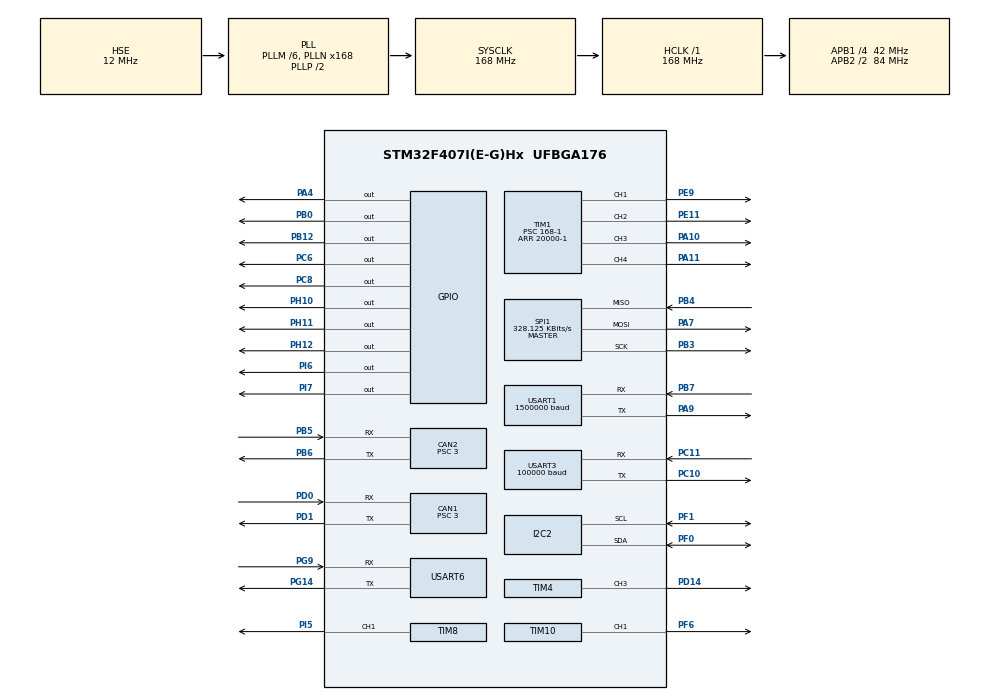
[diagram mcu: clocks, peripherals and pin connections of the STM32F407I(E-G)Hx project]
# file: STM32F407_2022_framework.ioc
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ARM.CMSIS.5.8.0.CMSISJjDSP=Source
CAN1.BS1=CAN_BS1_10TQ
CAN1.BS2=CAN_BS2_3TQ
CAN1.CalculateBaudRate=1000000
CAN1.CalculateTimeBit=1000
CAN1.CalculateTimeQuantum=71.42857142857143
CAN1.NART=DISABLE
CAN1.Prescaler=3
CAN1.SJW=CAN_SJW_1TQ
CAN1.TXFP=ENABLE
CAN2.BS1=CAN_BS1_10TQ
CAN2.BS2=CAN_BS2_3TQ
CAN2.CalculateBaudRate=1000000
CAN2.CalculateTimeBit=1000
CAN2.CalculateTimeQuantum=71.42857142857143
CAN2.NART=ENABLE
CAN2.Prescaler=3
CAN2.TXFP=ENABLE
Dma.Request0=USART1_TX
Dma.Request1=USART3_RX
Dma.Request2=USART6_RX
Dma.Request3=USART6_TX
Dma.Request4=USART1_RX
Dma.USART1_RX.4.Direction=DMA_PERIPH_TO_MEMORY
Dma.USART1_RX.4.FIFOMode=DMA_FIFOMODE_DISABLE
Dma.USART1_RX.4.Instance=DMA2_Stream2
Dma.USART1_RX.4.MemDataAlignment=DMA_MDATAALIGN_BYTE
Dma.USART1_RX.4.MemInc=DMA_MINC_ENABLE
Dma.USART1_RX.4.Mode=DMA_NORMAL
Dma.USART1_RX.4.PeriphDataAlignment=DMA_PDATAALIGN_BYTE
Dma.USART1_RX.4.PeriphInc=DMA_PINC_DISABLE
Dma.USART1_RX.4.Priority=DMA_PRIORITY_HIGH
Dma.USART1_TX.0.Direction=DMA_MEMORY_TO_PERIPH
Dma.USART1_TX.0.FIFOMode=DMA_FIFOMODE_DISABLE
Dma.USART1_TX.0.Instance=DMA2_Stream7
Dma.USART1_TX.0.MemDataAlignment=DMA_MDATAALIGN_BYTE
Dma.USART1_TX.0.MemInc=DMA_MINC_ENABLE
Dma.USART1_TX.0.Mode=DMA_NORMAL
Dma.USART1_TX.0.PeriphDataAlignment=DMA_PDATAALIGN_BYTE
Dma.USART1_TX.0.PeriphInc=DMA_PINC_DISABLE
Dma.USART1_TX.0.Priority=DMA_PRIORITY_HIGH
Dma.USART3_RX.1.Direction=DMA_PERIPH_TO_MEMORY
Dma.USART3_RX.1.FIFOMode=DMA_FIFOMODE_DISABLE
Dma.USART3_RX.1.Instance=DMA1_Stream1
Dma.USART3_RX.1.MemDataAlignment=DMA_MDATAALIGN_BYTE
Dma.USART3_RX.1.MemInc=DMA_MINC_ENABLE
Dma.USART3_RX.1.Mode=DMA_NORMAL
Dma.USART3_RX.1.PeriphDataAlignment=DMA_PDATAALIGN_BYTE
Dma.USART3_RX.1.PeriphInc=DMA_PINC_DISABLE
Dma.USART3_RX.1.Priority=DMA_PRIORITY_VERY_HIGH
Dma.USART6_RX.2.Direction=DMA_PERIPH_TO_MEMORY
Dma.USART6_RX.2.FIFOMode=DMA_FIFOMODE_DISABLE
Dma.USART6_RX.2.Instance=DMA2_Stream1
Dma.USART6_RX.2.MemDataAlignment=DMA_MDATAALIGN_BYTE
Dma.USART6_RX.2.MemInc=DMA_MINC_ENABLE
Dma.USART6_RX.2.Mode=DMA_CIRCULAR
Dma.USART6_RX.2.PeriphDataAlignment=DMA_PDATAALIGN_BYTE
Dma.USART6_RX.2.PeriphInc=DMA_PINC_DISABLE
Dma.USART6_RX.2.Priority=DMA_PRIORITY_HIGH
Dma.USART6_TX.3.Direction=DMA_MEMORY_TO_PERIPH
Dma.USART6_TX.3.FIFOMode=DMA_FIFOMODE_DISABLE
Dma.USART6_TX.3.Instance=DMA2_Stream6
Dma.USART6_TX.3.MemDataAlignment=DMA_MDATAALIGN_BYTE
Dma.USART6_TX.3.MemInc=DMA_MINC_ENABLE
Dma.USART6_TX.3.Mode=DMA_NORMAL
Dma.USART6_TX.3.PeriphDataAlignment=DMA_PDATAALIGN_BYTE
Dma.USART6_TX.3.PeriphInc=DMA_PINC_DISABLE
Dma.USART6_TX.3.Priority=DMA_PRIORITY_HIGH
FREERTOS.Tasks01=defaultTask,24,128,StartDefaultTask,Default,NULL,Dynamic,NULL,NULL;ImuTask,40,128,StartImuTask,Default,NULL,Dynamic,NULL,NULL;LogTask,24,128,StartLogTask,Default,NULL,Dynamic,NULL,NULL;MotorTask,40,128,StartMotorTask,Default,NULL,Dynamic,NULL,NULL;MonitorTask,41,128,StartMonitorTask,Default,NULL,Dynamic,NULL,NULL;RobotCMDTask,40,128,StartRobotCMDTask,Default,NULL,Dynamic,NULL,NULL;SuperCapTask,24,128,StartCapTask,Default,NULL,Dynamic,NULL,NULL;RefereeTask,24,128,StartRefereeTask,Default,NULL,Dynamic,NULL,NULL;RefereeSendTask,16,128,StartRefereeSendTask,Default,NULL,Dynamic,NULL,NULL
FREERTOS.configENABLE_FPU=0
Mcu.Family=STM32F4
Mcu.Name=STM32F407I(E-G)Hx
Mcu.Package=UFBGA176
NVIC.CAN1_RX0_IRQn=true\:5\:0\:false\:false\:true\:true\:true\:true\:true
NVIC.CAN1_RX1_IRQn=true\:5\:0\:false\:false\:true\:true\:true\:true\:true
NVIC.CAN2_RX0_IRQn=true\:5\:0\:false\:false\:true\:true\:true\:true\:true
NVIC.CAN2_RX1_IRQn=true\:5\:0\:false\:false\:true\:true\:true\:true\:true
NVIC.DMA1_Stream1_IRQn=true\:5\:0\:false\:false\:true\:true\:false\:true\:true
NVIC.DMA2_Stream1_IRQn=true\:5\:0\:false\:false\:true\:true\:false\:true\:true
NVIC.DMA2_Stream2_IRQn=true\:5\:0\:false\:false\:true\:true\:false\:true\:true
NVIC.DMA2_Stream6_IRQn=true\:5\:0\:false\:false\:true\:true\:false\:true\:true
NVIC.DMA2_Stream7_IRQn=true\:5\:0\:false\:false\:true\:true\:false\:true\:true
NVIC.PriorityGroup=NVIC_PRIORITYGROUP_4
NVIC.TIM8_TRG_COM_TIM14_IRQn=true\:5\:0\:false\:false\:true\:false\:false\:true\:true
NVIC.TimeBase=TIM8_TRG_COM_TIM14_IRQn
NVIC.TimeBaseIP=TIM14
NVIC.USART1_IRQn=true\:5\:0\:false\:false\:true\:true\:true\:true\:true
NVIC.USART3_IRQn=true\:5\:0\:false\:false\:true\:true\:true\:true\:true
NVIC.USART6_IRQn=true\:5\:0\:false\:false\:true\:true\:true\:true\:true
PA10.Signal=S_TIM1_CH3
PA11.Signal=S_TIM1_CH4
PA13.Mode=Serial_Wire
PA13.Signal=SYS_JTMS-SWDIO
PA14.Mode=Serial_Wire
PA14.Signal=SYS_JTCK-SWCLK
PA4.GPIO_ModeDefaultOutputPP=GPIO_MODE_OUTPUT_PP
PA4.GPIO_PuPd=GPIO_PULLUP
PA4.GPIO_Speed=GPIO_SPEED_FREQ_HIGH
PA4.PinState=GPIO_PIN_SET
PA4.Signal=GPIO_Output
PA7.Mode=Full_Duplex_Master
PA7.Signal=SPI1_MOSI
PA9.GPIO_PuPd=GPIO_PULLUP
PA9.Mode=Asynchronous
PA9.Signal=USART1_TX
PB0.GPIO_PuPd=GPIO_PULLUP
PB0.GPIO_Speed=GPIO_SPEED_FREQ_HIGH
PB0.PinState=GPIO_PIN_SET
PB0.Signal=GPIO_Output
PB12.Signal=GPIO_Output
PB3.Mode=Full_Duplex_Master
PB3.Signal=SPI1_SCK
PB4.Mode=Full_Duplex_Master
PB4.Signal=SPI1_MISO
PB5.Mode=CAN_Activate
PB5.Signal=CAN2_RX
PB6.Mode=CAN_Activate
PB6.Signal=CAN2_TX
PB7.GPIO_PuPd=GPIO_PULLUP
PB7.Mode=Asynchronous
PB7.Signal=USART1_RX
PC10.Mode=Asynchronous
PC10.Signal=USART3_TX
PC11.GPIO_PuPd=GPIO_NOPULL
PC11.Mode=Asynchronous
PC11.Signal=USART3_RX
PC6.GPIO_Speed=GPIO_SPEED_FREQ_VERY_HIGH
PC6.Signal=GPIO_Output
PC8.Signal=GPIO_Output
PD0.Mode=CAN_Activate
PD0.Signal=CAN1_RX
PD1.Mode=CAN_Activate
PD1.Signal=CAN1_TX
PD14.Signal=S_TIM4_CH3
PE11.Signal=S_TIM1_CH2
PE9.Signal=S_TIM1_CH1
PF0.GPIO_Pu=GPIO_PULLUP
PF0.Mode=I2C
PF0.Signal=I2C2_SDA
PF1.GPIO_Pu=GPIO_PULLUP
PF1.Mode=I2C
PF1.Signal=I2C2_SCL
PF6.Signal=S_TIM10_CH1
PG14.Mode=Asynchronous
PG14.Signal=USART6_TX
PG9.Mode=Asynchronous
PG9.Signal=USART6_RX
PH0-OSC_IN.Mode=HSE-External-Oscillator
PH0-OSC_IN.Signal=RCC_OSC_IN
PH1-OSC_OUT.Mode=HSE-External-Oscillator
PH1-OSC_OUT.Signal=RCC_OSC_OUT
PH10.Signal=GPIO_Output
PH11.Signal=GPIO_Output
PH12.GPIO_Speed=GPIO_SPEED_FREQ_HIGH
PH12.Signal=GPIO_Output
PI5.Signal=S_TIM8_CH1
PI6.GPIO_PuPd=GPIO_PULLUP
PI6.GPIO_Speed=GPIO_SPEED_FREQ_VERY_HIGH
PI6.Signal=GPIO_Output
PI7.GPIO_PuPd=GPIO_PULLUP
PI7.Signal=GPIO_Output
ProjectManager.HeapSize=0x8000
ProjectManager.StackSize=0x4000
ProjectManager.TargetToolchain=Makefile
RCC.48MHZClocksFreq_Value=48000000
RCC.AHBFreq_Value=168000000
RCC.APB1CLKDivider=RCC_HCLK_DIV4
RCC.APB1Freq_Value=42000000
RCC.APB1TimFreq_Value=84000000
RCC.APB2CLKDivider=RCC_HCLK_DIV2
RCC.APB2Freq_Value=84000000
RCC.APB2TimFreq_Value=168000000
RCC.CortexFreq_Value=168000000
RCC.HCLKFreq_Value=168000000
RCC.HSE_VALUE=12000000
RCC.HSI_VALUE=16000000
RCC.LSE_VALUE=32768
RCC.PLLM=6
RCC.PLLN=168
RCC.PLLQ=7
RCC.PLLSourceVirtual=RCC_PLLSOURCE_HSE
RCC.SYSCLKFreq_VALUE=168000000
RCC.SYSCLKSource=RCC_SYSCLKSOURCE_PLLCLK
RCC.VCOOutputFreq_Value=336000000
SH.S_TIM10_CH1.0=TIM10_CH1,PWM Generation1 CH1
SH.S_TIM1_CH1.0=TIM1_CH1,PWM Generation1 CH1
SH.S_TIM1_CH2.0=TIM1_CH2,PWM Generation2 CH2
SH.S_TIM1_CH3.0=TIM1_CH3,PWM Generation3 CH3
SH.S_TIM1_CH4.0=TIM1_CH4,PWM Generation4 CH4
SH.S_TIM4_CH3.0=TIM4_CH3,PWM Generation3 CH3
SH.S_TIM8_CH1.0=TIM8_CH1,PWM Generation1 CH1
SPI1.BaudRatePrescaler=SPI_BAUDRATEPRESCALER_256
SPI1.CLKPhase=SPI_PHASE_2EDGE
SPI1.CLKPolarity=SPI_POLARITY_HIGH
SPI1.CalculateBaudRate=328.125 KBits/s
SPI1.Direction=SPI_DIRECTION_2LINES
SPI1.Mode=SPI_MODE_MASTER
SPI1.VirtualType=VM_MASTER
TIM1.Channel-PWM\ Generation1\ CH1=TIM_CHANNEL_1
TIM1.Channel-PWM\ Generation2\ CH2=TIM_CHANNEL_2
TIM1.Channel-PWM\ Generation3\ CH3=TIM_CHANNEL_3
TIM1.Channel-PWM\ Generation4\ CH4=TIM_CHANNEL_4
TIM1.Period=20000-1
TIM1.Prescaler=168-1
TIM10.AutoReloadPreload=TIM_AUTORELOAD_PRELOAD_ENABLE
TIM10.Channel=TIM_CHANNEL_1
TIM10.OC1Preload_PWM=ENABLE
TIM10.OCPolarity_1=TIM_OCPOLARITY_HIGH
TIM10.Period=1000-1
TIM10.Prescaler=168-1
TIM13.Prescaler=84-1
TIM4.Channel-PWM\ Generation3\ CH3=TIM_CHANNEL_3
TIM4.Prescaler=84-1
TIM8.Channel-PWM\ Generation1\ CH1=TIM_CHANNEL_1
TIM8.Period=20000-1
TIM8.Prescaler=168-1
USART1.BaudRate=1500000
USART1.VirtualMode=VM_ASYNC
USART3.BaudRate=100000
USART3.Parity=PARITY_EVEN
USART3.StopBits=STOPBITS_1
USART3.VirtualMode=VM_ASYNC
USART3.WordLength=WORDLENGTH_9B
USART6.VirtualMode=VM_ASYNC
VP_ARM.CMSIS_VS_CMSISJjDSP_1.9.0-dev_5.8.0.Mode=CMSISJjDSP
VP_CRC_VS_CRC.Mode=CRC_Activate
VP_FREERTOS_VS_CMSIS_V2.Mode=CMSIS_V2
VP_RNG_VS_RNG.Mode=RNG_Activate
VP_SYS_VS_tim14.Mode=TIM14
VP_TIM10_VS_ClockSourceINT.Mode=Enable_Timer
VP_TIM13_VS_ClockSourceINT.Mode=Enable_Timer
VP_TIM1_VS_ClockSourceINT.Mode=Internal
VP_TIM8_VS_ClockSourceINT.Mode=Internal
board=custom

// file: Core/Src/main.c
/* USER CODE BEGIN Header */
/**
  ******************************************************************************
  * @file           : main.c
  * @brief          : Main program body
  ******************************************************************************
  * @attention
  *
  * <h2><center>&copy; Copyright (c) 2021 STMicroelectronics.
  * All rights reserved.</center></h2>
  *
  * This software component is licensed by ST under Ultimate Liberty license
  * SLA0044, the "License"; You may not use this file except in compliance with
  * the License. You may obtain a copy of the License at:
  *                             www.st.com/SLA0044
  *
  ******************************************************************************
  */
/* USER CODE END Header */
#include "main.h"
#include "cmsis_os.h"
#include "can.h"
#include "crc.h"
#include "dma.h"
#include "i2c.h"
#include "rng.h"
#include "spi.h"
#include "tim.h"
#include "usart.h"
#include "gpio.h"

/* USER CODE BEGIN Includes */
#include "stdio.h"
#include "app.h"
#include "hal.h"
#include "bsp.h"
extern DMA_HandleTypeDef hdma_usart1_tx;
extern DMA_HandleTypeDef hdma_usart3_rx;
/* USER CODE END Includes */

/* USER CODE BEGIN PV */
// int _write(int fd, char *ch, int len)
// {
//   HAL_UART_Transmit_DMA(&huart1, (uint8_t *)ch, len);
//   return len;
// }
/* USER CODE END PV */

void SystemClock_Config(void);
void MX_FREERTOS_Init(void);

int main(void)
{

  /* MCU Configuration--------------------------------------------------------*/

  /* Reset of all peripherals, Initializes the Flash interface and the Systick. */
  HAL_Init();

  /* Configure the system clock */
  SystemClock_Config();

  /* Initialize all configured peripherals */
  MX_GPIO_Init();
  MX_CAN1_Init();
  MX_CAN2_Init();
  MX_CRC_Init();
  MX_SPI1_Init();
  MX_TIM10_Init();
  MX_TIM13_Init();
  MX_USART1_UART_Init();
  MX_USART3_UART_Init();
  MX_USART6_UART_Init();
  MX_DMA_Init();
  MX_TIM4_Init();
  MX_RNG_Init();
  MX_TIM1_Init();
  MX_TIM8_Init();
  MX_I2C2_Init();
  /* USER CODE BEGIN 2 */
  BSP_Layer_Init();
  HAL_Layer_Init();
  APP_Layer_Init();

  /* USER CODE END 2 */

  /* Init scheduler */
  osKernelInitialize();  /* Call init function for freertos objects (in freertos.c) */
  MX_FREERTOS_Init();

  /* Start scheduler */
  osKernelStart();

  /* We should never get here as control is now taken by the scheduler */
  /* Infinite loop */
  while (1)
  {

  }
}

void SystemClock_Config(void)
{
  RCC_OscInitTypeDef RCC_OscInitStruct = {0};
  RCC_ClkInitTypeDef RCC_ClkInitStruct = {0};

  /** Configure the main internal regulator output voltage
  */
  __HAL_RCC_PWR_CLK_ENABLE();
  __HAL_PWR_VOLTAGESCALING_CONFIG(PWR_REGULATOR_VOLTAGE_SCALE1);

  /** Initializes the RCC Oscillators according to the specified parameters
  * in the RCC_OscInitTypeDef structure.
  */
  RCC_OscInitStruct.OscillatorType = RCC_OSCILLATORTYPE_HSE;
  RCC_OscInitStruct.HSEState = RCC_HSE_ON;
  RCC_OscInitStruct.PLL.PLLState = RCC_PLL_ON;
  RCC_OscInitStruct.PLL.PLLSource = RCC_PLLSOURCE_HSE;
  RCC_OscInitStruct.PLL.PLLM = 6;
  RCC_OscInitStruct.PLL.PLLN = 168;
  RCC_OscInitStruct.PLL.PLLP = RCC_PLLP_DIV2;
  RCC_OscInitStruct.PLL.PLLQ = 7;
  if (HAL_RCC_OscConfig(&RCC_OscInitStruct) != HAL_OK)
  {
    Error_Handler();
  }

  /** Initializes the CPU, AHB and APB buses clocks
  */
  RCC_ClkInitStruct.ClockType = RCC_CLOCKTYPE_HCLK|RCC_CLOCKTYPE_SYSCLK
                              |RCC_CLOCKTYPE_PCLK1|RCC_CLOCKTYPE_PCLK2;
  RCC_ClkInitStruct.SYSCLKSource = RCC_SYSCLKSOURCE_PLLCLK;
  RCC_ClkInitStruct.AHBCLKDivider = RCC_SYSCLK_DIV1;
  RCC_ClkInitStruct.APB1CLKDivider = RCC_HCLK_DIV4;
  RCC_ClkInitStruct.APB2CLKDivider = RCC_HCLK_DIV2;

  if (HAL_RCC_ClockConfig(&RCC_ClkInitStruct, FLASH_LATENCY_5) != HAL_OK)
  {
    Error_Handler();
  }
}

void HAL_TIM_PeriodElapsedCallback(TIM_HandleTypeDef *htim)
{
  if (htim->Instance == TIM14) {
    HAL_IncTick();
  }
}

void Error_Handler(void)
{
  __disable_irq();
  while (1)
  {
  }
}

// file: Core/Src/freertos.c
/* USER CODE BEGIN Header */
/**
 ******************************************************************************
 * File Name          : freertos.c
 * Description        : Code for freertos applications
 ******************************************************************************
 * @attention
 *
 * <h2><center>&copy; Copyright (c) 2021 STMicroelectronics.
 * All rights reserved.</center></h2>
 *
 * This software component is licensed by ST under Ultimate Liberty license
 * SLA0044, the "License"; You may not use this file except in compliance with
 * the License. You may obtain a copy of the License at:
 *                             www.st.com/SLA0044
 *
 ******************************************************************************
 */
/* USER CODE END Header */

#include "FreeRTOS.h"
#include "task.h"
#include "main.h"
#include "cmsis_os.h"

/* USER CODE BEGIN Includes */
#include "app.h"
#include "bsp.h"
#include "hal.h"
#include "stdio.h"
/* USER CODE END Includes */

/* Definitions for defaultTask */
osThreadId_t defaultTaskHandle;
const osThreadAttr_t defaultTask_attributes = {
  .name = "defaultTask",
  .stack_size = 128 * 4,
  .priority = (osPriority_t) osPriorityNormal,
};
/* Definitions for ImuTask */
osThreadId_t ImuTaskHandle;
const osThreadAttr_t ImuTask_attributes = {
  .name = "ImuTask",
  .stack_size = 128 * 4,
  .priority = (osPriority_t) osPriorityHigh,
};
/* Definitions for LogTask */
osThreadId_t LogTaskHandle;
const osThreadAttr_t LogTask_attributes = {
  .name = "LogTask",
  .stack_size = 128 * 4,
  .priority = (osPriority_t) osPriorityNormal,
};
/* Definitions for MotorTask */
osThreadId_t MotorTaskHandle;
const osThreadAttr_t MotorTask_attributes = {
  .name = "MotorTask",
  .stack_size = 128 * 4,
  .priority = (osPriority_t) osPriorityHigh,
};
/* Definitions for MonitorTask */
osThreadId_t MonitorTaskHandle;
const osThreadAttr_t MonitorTask_attributes = {
  .name = "MonitorTask",
  .stack_size = 128 * 4,
  .priority = (osPriority_t) osPriorityHigh1,
};
/* Definitions for RobotCMDTask */
osThreadId_t RobotCMDTaskHandle;
const osThreadAttr_t RobotCMDTask_attributes = {
  .name = "RobotCMDTask",
  .stack_size = 128 * 4,
  .priority = (osPriority_t) osPriorityHigh,
};
/* Definitions for SuperCapTask */
osThreadId_t SuperCapTaskHandle;
const osThreadAttr_t SuperCapTask_attributes = {
  .name = "SuperCapTask",
  .stack_size = 128 * 4,
  .priority = (osPriority_t) osPriorityNormal,
};
/* Definitions for RefereeTask */
osThreadId_t RefereeTaskHandle;
const osThreadAttr_t RefereeTask_attributes = {
  .name = "RefereeTask",
  .stack_size = 128 * 4,
  .priority = (osPriority_t) osPriorityNormal,
};
/* Definitions for RefereeSendTask */
osThreadId_t RefereeSendTaskHandle;
const osThreadAttr_t RefereeSendTask_attributes = {
  .name = "RefereeSendTask",
  .stack_size = 128 * 4,
  .priority = (osPriority_t) osPriorityBelowNormal,
};

void StartDefaultTask(void *argument);
void StartImuTask(void *argument);
void StartLogTask(void *argument);
void StartMotorTask(void *argument);
void StartMonitorTask(void *argument);
void StartRobotCMDTask(void *argument);
void StartCapTask(void *argument);
void StartRefereeTask(void *argument);
void StartRefereeSendTask(void *argument);

void MX_FREERTOS_Init(void); /* (MISRA C 2004 rule 8.1) */

void MX_FREERTOS_Init(void) {

  /* Create the thread(s) */
  /* creation of defaultTask */
  defaultTaskHandle = osThreadNew(StartDefaultTask, NULL, &defaultTask_attributes);

  /* creation of ImuTask */
  ImuTaskHandle = osThreadNew(StartImuTask, NULL, &ImuTask_attributes);

  /* creation of LogTask */
  LogTaskHandle = osThreadNew(StartLogTask, NULL, &LogTask_attributes);

  /* creation of MotorTask */
  MotorTaskHandle = osThreadNew(StartMotorTask, NULL, &MotorTask_attributes);

  /* creation of MonitorTask */
  MonitorTaskHandle = osThreadNew(StartMonitorTask, NULL, &MonitorTask_attributes);

  /* creation of RobotCMDTask */
  RobotCMDTaskHandle = osThreadNew(StartRobotCMDTask, NULL, &RobotCMDTask_attributes);

  /* creation of SuperCapTask */
  SuperCapTaskHandle = osThreadNew(StartCapTask, NULL, &SuperCapTask_attributes);

  /* creation of RefereeTask */
  RefereeTaskHandle = osThreadNew(StartRefereeTask, NULL, &RefereeTask_attributes);

  /* creation of RefereeSendTask */
  RefereeSendTaskHandle = osThreadNew(StartRefereeSendTask, NULL, &RefereeSendTask_attributes);

}

void StartDefaultTask(void *argument)
{
  /* USER CODE BEGIN StartDefaultTask */
    /* Infinite loop */
    // Buzzer_Init(&internal_buzzer,music2,14);
    portTickType currentTimeDefault;
    currentTimeDefault = xTaskGetTickCount();
    for (;;) {
        APP_Layer_default_loop();
        HAL_Layer_Default_Loop();
        HAL_Buzzer_Loop();
        vTaskDelayUntil(&currentTimeDefault, 100);
    }
  /* USER CODE END StartDefaultTask */
}

void StartImuTask(void *argument)
{
  /* USER CODE BEGIN StartImuTask */
    /* Infinite loop */
    portTickType currentTimeImu;
    currentTimeImu = xTaskGetTickCount();
    for (;;) {
        FrameRateStatistics(&task_frameRate.FPS_IMU);
        HAL_Imu_Loop();
        vTaskDelayUntil(&currentTimeImu, 2);
    }
  /* USER CODE END StartImuTask */
}

void StartLogTask(void *argument)
{
  /* USER CODE BEGIN StartLogTask */
    portTickType currentTimeLog;
    currentTimeLog = xTaskGetTickCount();
    for (;;) {
        APP_Log_Loop();
        vTaskDelayUntil(&currentTimeLog, 10);
    }
  /* USER CODE END StartLogTask */
}

void StartMotorTask(void *argument)
{
  /* USER CODE BEGIN StartMotorTask */
    portTickType currentTimeMotor;
    currentTimeMotor = xTaskGetTickCount();
    /* Infinite loop */
    for (;;) {
        FrameRateStatistics(&task_frameRate.FPS_controller);
        HAL_Motor_Calc_Loop();
        vTaskDelayUntil(&currentTimeMotor, 1);
    }
  /* USER CODE END StartMotorTask */
}

void StartMonitorTask(void *argument)
{
  /* USER CODE BEGIN StartMonitorTask */
    /* Infinite loop */
    portTickType currentTimeMonitor;
    currentTimeMonitor = xTaskGetTickCount();
    for (;;) {
        HAL_Monitor_Loop();
        vTaskDelayUntil(&currentTimeMonitor, 10);
    }
  /* USER CODE END StartMonitorTask */
}

void StartRobotCMDTask(void *argument)
{
  /* USER CODE BEGIN StartRobotCMDTask */
    /* Infinite loop */
    portTickType currentTimeRobotCMD;
    currentTimeRobotCMD = xTaskGetTickCount();
    for (;;) {
        FrameRateStatistics(&task_frameRate.FPS_RobotCMD);
        APP_Loop();
        vTaskDelayUntil(&currentTimeRobotCMD, 2);
    }
  /* USER CODE END StartRobotCMDTask */
}

void StartCapTask(void *argument)
{
  /* USER CODE BEGIN StartCapTask */
    /* Infinite loop */
    portTickType currentTimeSuperCap;
    currentTimeSuperCap = xTaskGetTickCount();
    for (;;) {
        FrameRateStatistics(&task_frameRate.FPS_Cap);
        HAL_Super_cap_wuli_Loop();
        vTaskDelayUntil(&currentTimeSuperCap, 2);
    }
  /* USER CODE END StartCapTask */
}

void StartRefereeTask(void *argument)
{
  /* USER CODE BEGIN StartRefereeTask */
    portTickType currentTimeReferee;
    currentTimeReferee = xTaskGetTickCount();
    /* Infinite loop */
    for (;;) {
        FrameRateStatistics(&task_frameRate.FPS_Judge);
        HAL_Referee_Recv_Loop();
        vTaskDelayUntil(&currentTimeReferee, 10);
    }
  /* USER CODE END StartRefereeTask */
}

void StartRefereeSendTask(void *argument)
{
  /* USER CODE BEGIN StartRefereeSendTask */
    /* Infinite loop */
    for (;;) {
        FrameRateStatistics(&task_frameRate.FPS_JudgeSend);
        HAL_Referee_Send_Loop();
        osDelay(100);
    }
  /* USER CODE END StartRefereeSendTask */
}
